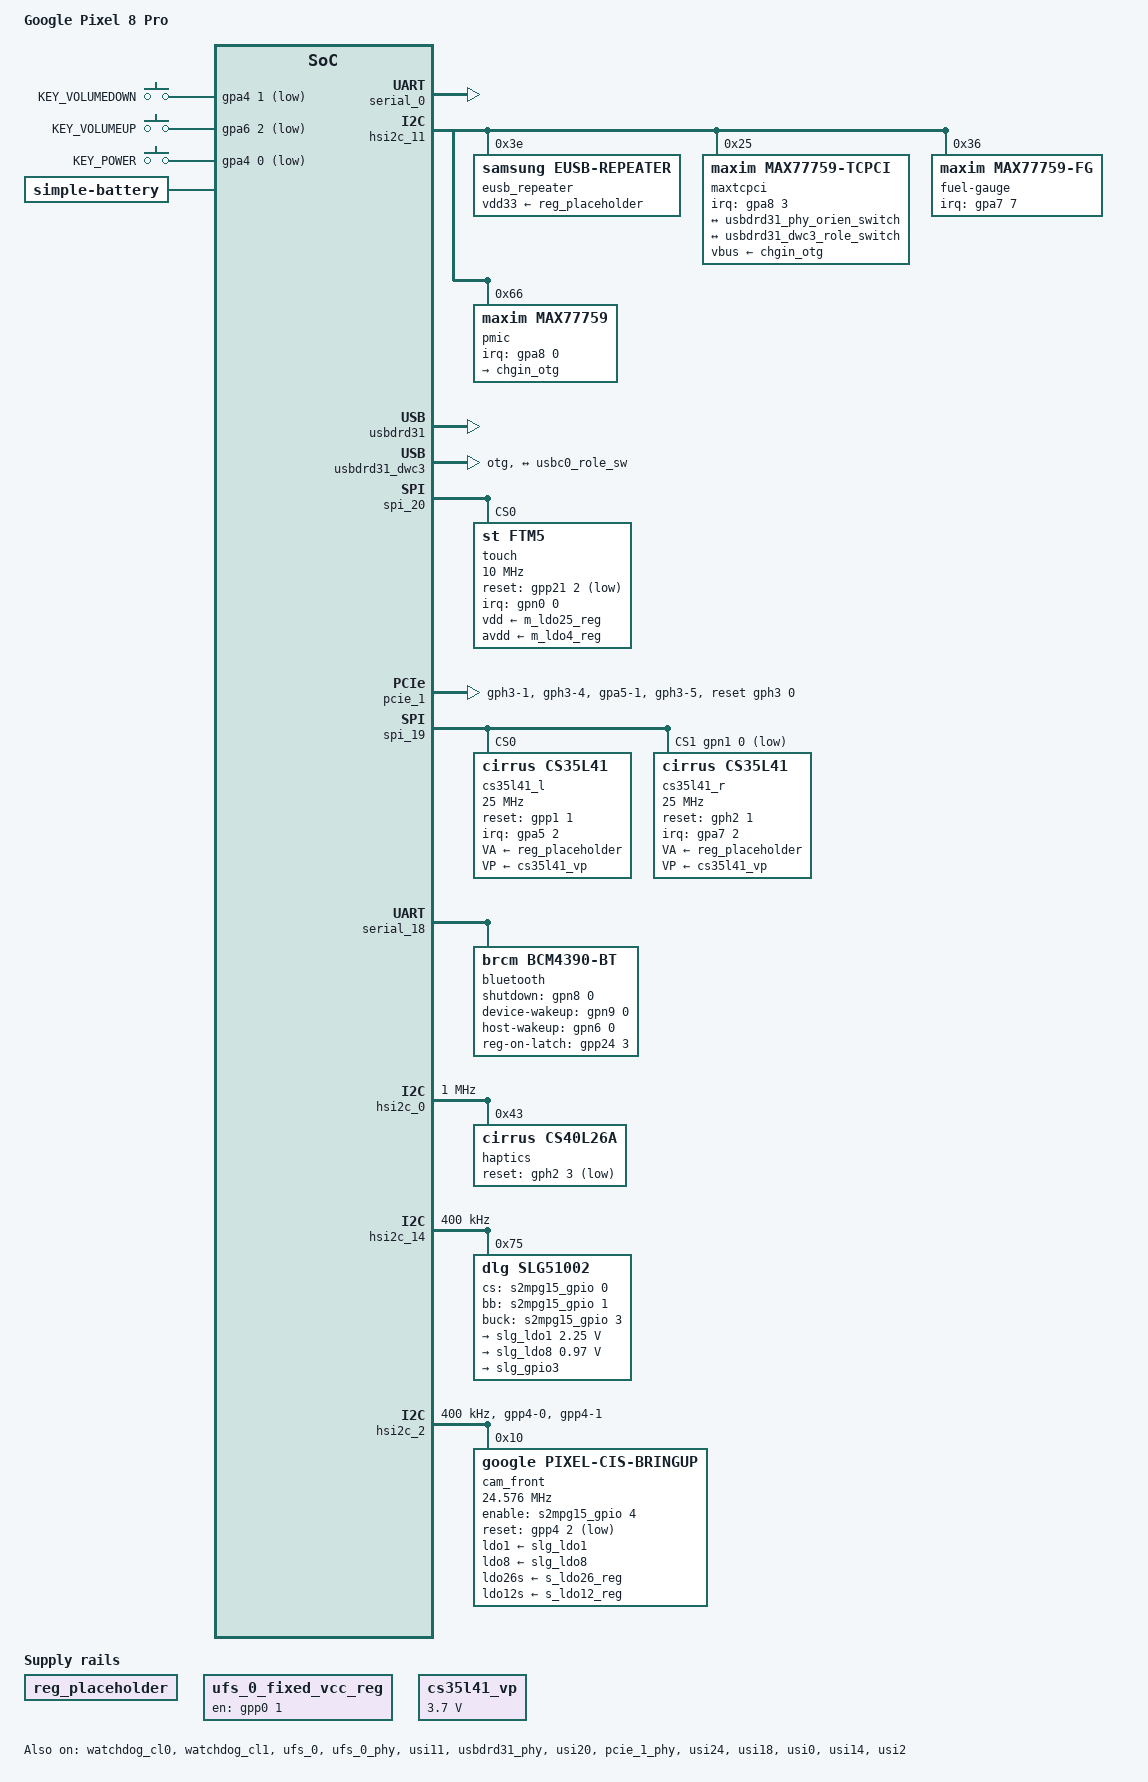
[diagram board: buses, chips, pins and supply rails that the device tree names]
// SPDX-License-Identifier: GPL-2.0-only
/*
 * Google Pixel 8 Pro (husky), Tensor G3 (zuma). First bring-up DT.
 *
 * Deliberately minimal: storage (UFS), USB gadget, keys and the watchdogs,
 * with the bootloader's framebuffer taken over by zumapro-bootfb (it reads
 * DECON back, so it needs no address here; pass "zumapro_bootfb" on the
 * command line). No PMIC, charger, panel or touch driver is bound yet, so
 * no regulator can be switched off behind the bootloader's back: every rail
 * a consumer needs is a fixed placeholder that is assumed to be on.
 *
 * Board facts from downstream kernel/devices/google/shusky
 * (android-gs-shusky-6.1-android16): zuma-husky-mp.dts board_id 0x40206,
 * zuma-shusky-usb.dtsi (eUSB2 repeater at 0x3e on hsi2c_11 and its tune
 * values), zuma-ufs.dtsi (UFS VCC enable on gpp0-1).
 */

/dts-v1/;

#include <dt-bindings/gpio/gpio.h>
#include <dt-bindings/input/input.h>
#include <dt-bindings/usb/pd.h>
#include "zumapro-pinctrl.h"
#include "zuma.dtsi"

/ {
	model = "Google Pixel 8 Pro";
	compatible = "google,husky", "google,zuma";

	/*
	 * Read by the bootloader (not the kernel) to pick a DTB out of
	 * vendor_kernel_boot: zuma is product 0x9865, B0/B1 steppings, and
	 * IPOP (pkg_mode 1) or FOPLP (0) packages. Copied from downstream
	 * zuma-b0-ipop.dts / zuma-b0-foplp.dts so any retail unit matches.
	 */
	soc_compatible {
		B0_IPOP {
			description = "B0,IPOP";
			product_id = <0x09865>;
			major = <0x1>;
			minor = <0x0>;
			pkg_mode = <0x1>;
		};

		B1_IPOP {
			description = "B1,IPOP";
			product_id = <0x09865>;
			major = <0x1>;
			minor = <0x1>;
			pkg_mode = <0x1>;
		};

		B0_FOPLP {
			description = "B0,FOPLP";
			product_id = <0x09865>;
			major = <0x1>;
			minor = <0x0>;
			pkg_mode = <0x0>;
		};

		B1_FOPLP {
			description = "B1,FOPLP";
			product_id = <0x09865>;
			major = <0x1>;
			minor = <0x1>;
			pkg_mode = <0x0>;
		};
	};

	aliases {
		serial0 = &serial_0;
	};

	chosen {
		/*
		 * The bootloader crashes when /chosen/bootargs is absent, and it
		 * appends the boot image's command line to whatever is here, so
		 * keep it present and empty.
		 */
		bootargs = "";
		stdout-path = &serial_0;
	};

	/*
	 * No memory nodes here beyond zumapro.dtsi's memory@80000000: the
	 * bootloader adds memory@880000000 .. memory@a80000000 itself (as on
	 * stock, whose base DTB only has memory@80000000), and fails the boot
	 * when a node by that name already exists.
	 */

	/*
	 * Every hole the stock Android kernel leaves in low RAM on this phone
	 * (Evolution X 17 / CP2A.260805.005, /proc/iomem and /sys/firmware/fdt
	 * read back on a running husky) that zumapro.dtsi does not already
	 * reserve and that the bootloader does not add by itself. It adds
	 * sec_dram (0xb6200000), sec_pt (0xe0000000) and pkvm_guest_firmware
	 * (0x8b000000) to /reserved-memory on every boot, and refuses the DTB
	 * (reboots into fastboot) when they are already described here.
	 */
	reserved-memory {

		gxp_scratchpad@91300000 {
			reg = <0x0 0x91300000 0x000a0000>;
			no-map;
		};

		gxp@91400000 {
			reg = <0x0 0x91400000 0x01000000>;
			no-map;
		};

		carveout@97000000 {
			reg = <0x0 0x97000000 0x00400000>;
			no-map;
		};


		carveout@d8100000 {
			reg = <0x0 0xd8100000 0x02910000>;
			no-map;
		};

		carveout@dda10000 {
			reg = <0x0 0xdda10000 0x00610000>;
			no-map;
		};

	};

	gpio-keys {
		compatible = "gpio-keys";
		pinctrl-0 = <&key_voldown>, <&key_volup>, <&key_power>;
		pinctrl-names = "default";

		button-vol-down {
			label = "KEY_VOLUMEDOWN";
			linux,code = <KEY_VOLUMEDOWN>;
			gpios = <&gpa4 1 GPIO_ACTIVE_LOW>;
		};

		button-vol-up {
			label = "KEY_VOLUMEUP";
			linux,code = <KEY_VOLUMEUP>;
			gpios = <&gpa6 2 GPIO_ACTIVE_LOW>;
		};

		button-power {
			label = "KEY_POWER";
			linux,code = <KEY_POWER>;
			gpios = <&gpa4 0 GPIO_ACTIVE_LOW>;
		};
	};

	reg_placeholder: regulator-0 {
		compatible = "regulator-fixed";
		regulator-name = "placeholder_reg";
		regulator-always-on;
	};

	ufs_0_fixed_vcc_reg: regulator-1 {
		compatible = "regulator-fixed";
		regulator-name = "ufs-vcc";
		gpio = <&gpp0 1 GPIO_ACTIVE_HIGH>;
		regulator-boot-on;
		/* nothing claims it, so only always-on stops the unused sweep */
		regulator-always-on;
		enable-active-high;
	};
};

/* The DSU covers all nine cores. */
&{/pmu-3} {
	cpus = <&cpu0>, <&cpu1>, <&cpu2>, <&cpu3>,
	       <&cpu4>, <&cpu5>, <&cpu6>, <&cpu7>, <&cpu8>;
};

&pinctrl_gpio_alive {
	key_power: key-power-pins {
		samsung,pins = "gpa4-0";
		samsung,pin-function = <GS101_PIN_FUNC_EINT>;
		samsung,pin-pud = <GS101_PIN_PULL_UP>;
	};

	key_voldown: key-voldown-pins {
		samsung,pins = "gpa4-1";
		samsung,pin-function = <GS101_PIN_FUNC_EINT>;
		samsung,pin-pud = <GS101_PIN_PULL_NONE>;
	};

	key_volup: key-volup-pins {
		samsung,pins = "gpa6-2";
		samsung,pin-function = <GS101_PIN_FUNC_EINT>;
		samsung,pin-pud = <GS101_PIN_PULL_NONE>;
	};
};

&ext_24_5m {
	clock-frequency = <24576000>;
};

&ext_200m {
	clock-frequency = <200000000>;
};

&ext_26m {
	clock-frequency = <26000000>;
};

&ext_1m {
	clock-frequency = <1000000>;
};

&serial_0 {
	status = "okay";
};

&watchdog_cl0 {
	timeout-sec = <30>;
	status = "okay";
};

&watchdog_cl1 {
	timeout-sec = <30>;
	status = "okay";
};

&ufs_0 {
	vcc-supply = <&ufs_0_fixed_vcc_reg>;
	vdd-hba-supply = <&reg_placeholder>;
	vccq-supply = <&reg_placeholder>;
	vccq2-supply = <&reg_placeholder>;
	vcc-max-microamp = <0>;
	vccq-max-microamp = <0>;
	vccq2-max-microamp = <0>;

	status = "okay";
};

&ufs_0_phy {
	status = "okay";
};

/* eUSB2 repeater: husky has it on hsi2c_11 (komodo: hsi2c_9). */
&usi11 {
	samsung,mode = <USI_MODE_I2C>;
	status = "okay";
};

&hsi2c_11 {
	status = "okay";

	eusb_repeater: eusb-repeater@3e {
		compatible = "samsung,eusb-repeater";
		reg = <0x3e>;
		#phy-cells = <0>;
		vdd33-supply = <&reg_placeholder>;
		/* zuma-shusky-usb.dtsi repeater_tune1..8 (register, value) */
		samsung,tune-param = <0x50 0x0a>,
				     <0x70 0x3c>,
				     <0x71 0x2c>,
				     <0x72 0x90>,
				     <0x73 0x83>,
				     <0x77 0x00>,
				     <0x78 0x0b>,
				     <0x79 0x40>;
	};
};

/*
 * Peripheral only for now: the role switch normally comes from the
 * MAX77759 TCPC, which is not described yet.
 */
&usbdrd31 {
	vdd10-supply = <&reg_placeholder>;
	vdd33-supply = <&reg_placeholder>;

	status = "okay";
};

&usbdrd31_dwc3 {
	dr_mode = "otg";
	usb-role-switch;
	role-switch-default-mode = "peripheral";
	maximum-speed = "high-speed";

	status = "okay";

	port {
		usbdrd31_dwc3_role_switch: endpoint {
			remote-endpoint = <&usbc0_role_sw>;
		};
	};
};

&usbdrd31_phy {
	pll-supply = <&reg_placeholder>;
	dvdd-usb20-supply = <&reg_placeholder>;
	vddh-usb20-supply = <&reg_placeholder>;
	vdd33-usb20-supply = <&reg_placeholder>;
	vdda-usbdp-supply = <&reg_placeholder>;
	vddh-usbdp-supply = <&reg_placeholder>;
	orientation-switch;

	status = "okay";

	port {
		usbdrd31_phy_orien_switch: endpoint {
			remote-endpoint = <&usbc0_orien_sw>;
		};
	};
};

/*
 * The bootloader merges its DPM (debug policy) overlay onto &dpm and reboots
 * into fastboot when the base DTB has no such label: copied from the stock
 * husky DTB (vendor_kernel_boot, B FOPLP). This DTB is built with -@ so the
 * label is exported in /__symbols__.
 */
/ {
	dpm: dpm {
		version = <0x65>;
		variant = "user";

		security {
			cp_mem_not_clear = <0x00>;
			dbg_mem_enable = <0x00>;
			seh_enable = <0x00>;
			pm_test_enable = <0x00>;
			seclog_enable = <0x00>;
			harxlog_enable = <0x00>;
			sdm_enable = <0x00>;
			ERXPFG_enable = <0x00>;
		};

		abl {
			ramdump_mode = <0x00>;
			ramdump2usb = <0x00>;
		};

		feature {

			dump-mode {
				enabled = <0x01>;
				file-support = <0x00>;
			};

			event {
				method = "task_log", "work_log", "cpuidle_log", "suspend_log", "irq_log", "hrtimer_log", "clk_log", "pmu_log", "freq_log", "dm_log", "regulator_log", "thermal_log", "acpm_log", "printk_log";
			};

			debug-kinfo {
				enabled = <0x01>;
			};
		};

		policy {

			exception {
				pre_log = <0x01>;
				el1_da = <0x00>;
				el1_ia = <0x00>;
				el1_undef = <0x00>;
				el1_sp_pc = <0x00>;
				el1_inv = <0x00>;
				el1_serror = <0x00>;
			};
		};
	};
};

/*
 * The boot framebuffer is scanned out by the bootloader's DECON through the
 * DPUF read DMA. Nothing in this DT binds the display yet, so the DPU SysMMU
 * and S2MPU runtime-suspend about a second into boot and genpd powers their
 * domains off -- DECON stops fetching and the panel freezes on whatever it
 * showed last (and touching 0x19840000 afterwards hangs the bus). Keep the
 * display domains up until a real display driver owns them.
 */
&pd_dpub {
	samsung,always-on;
};

&pd_dpuf0 {
	samsung,always-on;
};

&pd_dpuf1 {
	samsung,always-on;
};

/*
 * Main PMIC (S2MPG14), only the two touch rails for now. Every other rail is
 * left as the bootloader set it: describing a regulator lets Linux set its
 * voltage, so nothing is listed without husky's own constraints. Values from
 * downstream zuma-husky-touch.dtsi; the IRQ is IRQB_M (SPI 75), as on the
 * Pixel 9 boards (identical interrupt map).
 */
&acpm_ipc {
	pmic-1 {
		compatible = "samsung,s2mpg14-pmic";
		interrupt-parent = <&gic>;
		interrupts = <GIC_SPI 75 IRQ_TYPE_LEVEL_HIGH 0>;

		regulators {
			m_ldo4_reg: ldo4m {
				/* L4M_TS_AVDD: touch analog */
				regulator-name = "vdd_ts_avdd";
				regulator-min-microvolt = <3300000>;
				regulator-max-microvolt = <3300000>;
			};

			m_ldo25_reg: ldo25m {
				/* L25M_TSP_DVDD: touch digital */
				regulator-name = "vdd_ts_dvdd";
				regulator-min-microvolt = <1800000>;
				regulator-max-microvolt = <1800000>;
			};
		};
	};

	/*
	 * Sub PMIC (S2MPG15), only the AoC sensor rails. Enable-only, like on
	 * the Pixel 9: the bootloader leaves the voltages where the AoC wants
	 * them (stock husky overlay: L7S_SENSORS 1.8 V, L5S_PROX 3.3 V).
	 * Same IRQ as on the Pixel 9 (gpa0-1).
	 */
	pmic-2 {
		compatible = "samsung,s2mpg15-pmic";
		interrupt-parent = <&gpa0>;
		interrupts = <1 0 0>, <1 0 1>;

		regulators {
			s_ldo5_reg: ldo5s {
				regulator-name = "L5S_PROX";
			};

			s_ldo7_reg: ldo7s {
				regulator-name = "L7S_SENSORS";
			};

			s_ldo12_reg: ldo12s {
				regulator-name = "L12S_CAMIO";	/* 1.85 V */
			};

			s_ldo26_reg: ldo26s {
				regulator-name = "L26S_LDAF";	/* 3.3 V */
			};
		};

		s2mpg15_gpio: gpio {
			compatible = "samsung,s2mpg15-gpio";
			gpio-controller;
			#gpio-cells = <2>;
		};
	};
};

/*
 * Touch: ST FTM5 on USI20 SPI (downstream zuma-fts-touch.dtsi,
 * zuma-husky-touch.dtsi): IRQ gpn0-0, reset gpp21-2 (low = reset),
 * 10 MHz, sensor inverted in X and Y.
 */
&pinctrl_gpio_custom_alive {
	ts_irq: ts-irq {
		samsung,pins = "gpn0-0";
		samsung,pin-function = <GS101_PIN_FUNC_EINT>;
		samsung,pin-pud = <GS101_PIN_PULL_NONE>;
		samsung,pin-drv = <GS101_PIN_DRV_2_5_MA>;
	};
};

&usi20 {
	samsung,mode = <USI_MODE_SPI>;
	status = "okay";
};

&spi_20 {
	status = "okay";
	/*
	 * No pinctrl: on husky the USI20 SPI pins are dedicated (the vendor DT
	 * has an empty pinctrl-0). spi2_bus/spi2_cs_func would mux gpp4-0..3,
	 * which are the front camera's I2C, its reset and a GPS line here.
	 */
	/delete-property/ pinctrl-names;
	/delete-property/ pinctrl-0;
	num-cs = <1>;

	touch: touchscreen@0 {
		compatible = "st,ftm5";
		reg = <0>;
		spi-max-frequency = <10000000>;
		pinctrl-names = "default";
		pinctrl-0 = <&ts_irq>;
		interrupts-extended = <&gpn0 0 IRQ_TYPE_LEVEL_LOW>;
		reset-gpios = <&gpp21 2 GPIO_ACTIVE_LOW>;
		vdd-supply = <&m_ldo25_reg>;
		avdd-supply = <&m_ldo4_reg>;
		touchscreen-size-x = <1344>;
		touchscreen-size-y = <2992>;
		/*
		 * No inversion: the controller's axes match the panel scan. (It
		 * once looked inverted because the bootloader's 180 degree IDMA
		 * read was left on; exynos_dpu_dma now clears it.)
		 */

		controller-data {
			samsung,spi-feedback-delay = <0>;
			samsung,spi-chip-select-mode = <0>;
			cs-clock-delay = <2>;
		};
	};
};

/*
 * MAX77759 on hsi2c_11 (downstream live DT of a husky): core/charger @0x66
 * (IRQ gpa8-0), fuel gauge @0x36 (IRQ gpa7-7), TCPC @0x25 (IRQ gpa8-3).
 * Wiring after gs101-pixel-common.dtsi (Pixel 6 has the same MAX77759).
 *
 * Deliberately conservative first step:
 *  - USB-C dual-role with PD; OTG source limited to 5 V / 900 mA.
 *  - dwc3 role and PHY orientation follow the TCPC (high-speed only for now).
 *  - Charging limits below Google's (4.48 V top tier, temperature-tiered
 *    current): 4.40 V float, 2.0 A, since this charger driver does no
 *    temperature tiering.
 */
/ {
	battery: battery {
		compatible = "simple-battery";
		/* google,chg-battery-capacity 4950 mAh */
		charge-full-design-microamp-hours = <4950000>;
		voltage-max-design-microvolt = <4480000>;
		constant-charge-voltage-max-microvolt = <4400000>;
		constant-charge-current-max-microamp = <2000000>;
	};
};

&pinctrl_gpio_alive {
	if_pmic_int: if-pmic-int-pins {
		samsung,pins = "gpa8-0";
		samsung,pin-function = <GS101_PIN_FUNC_EINT>;
		samsung,pin-pud = <GS101_PIN_PULL_NONE>;
	};

	typec_int: typec-int-pins {
		samsung,pins = "gpa8-3";
		samsung,pin-function = <GS101_PIN_FUNC_EINT>;
		samsung,pin-pud = <GS101_PIN_PULL_NONE>;
	};

	if_pmic_fg_int: if-pmic-fg-int-pins {
		samsung,pins = "gpa7-7";
		samsung,pin-function = <GS101_PIN_FUNC_EINT>;
		samsung,pin-pud = <GS101_PIN_PULL_NONE>;
	};
};

&hsi2c_11 {
	maxtcpci: usb-typec@25 {
		compatible = "maxim,max77759-tcpci", "maxim,max33359";
		reg = <0x25>;
		interrupts-extended = <&gpa8 3 IRQ_TYPE_LEVEL_LOW>;
		pinctrl-0 = <&typec_int>;
		pinctrl-names = "default";
		vbus-supply = <&chgin_otg>;

		connector {
			compatible = "usb-c-connector";
			label = "USB-C";
			data-role = "dual";
			power-role = "dual";
			try-power-role = "sink";
			self-powered;
			op-sink-microwatt = <2600000>;
			/* OTG: the MAX77759 reverse boost, kept modest */
			source-pdos = <PDO_FIXED(5000, 900,
						 (PDO_FIXED_SUSPEND
						  | PDO_FIXED_USB_COMM
						  | PDO_FIXED_DATA_SWAP
						  | PDO_FIXED_DUAL_ROLE))>;
			/* as gs101-pixel-common.dtsi (same charger) */
			sink-pdos = <PDO_FIXED(5000, 3000,
					       (PDO_FIXED_DATA_SWAP
						| PDO_FIXED_USB_COMM
						| PDO_FIXED_HIGHER_CAP
						| PDO_FIXED_DUAL_ROLE))
				     PDO_FIXED(9000, 2200, 0)>;
			typec-power-opmode = "default";

			ports {
				#address-cells = <1>;
				#size-cells = <0>;

				port@0 {
					reg = <0>;
					usbc0_orien_sw: endpoint {
						remote-endpoint = <&usbdrd31_phy_orien_switch>;
					};
				};

				port@1 {
					reg = <1>;
					usbc0_role_sw: endpoint {
						remote-endpoint = <&usbdrd31_dwc3_role_switch>;
					};
				};
			};
		};
	};

	fuel-gauge@36 {
		compatible = "maxim,max77759-fg";
		reg = <0x36>;
		pinctrl-0 = <&if_pmic_fg_int>;
		pinctrl-names = "default";
		interrupts-extended = <&gpa7 7 IRQ_TYPE_LEVEL_LOW>;
		/* maxim,rsense-default 500 (10 uOhm units) */
		shunt-resistor-micro-ohms = <5000>;
		monitored-battery = <&battery>;
	};

	pmic@66 {
		compatible = "maxim,max77759";
		reg = <0x66>;
		pinctrl-0 = <&if_pmic_int>;
		pinctrl-names = "default";
		interrupts-extended = <&gpa8 0 IRQ_TYPE_LEVEL_LOW>;
		interrupt-controller;
		#interrupt-cells = <2>;
		power-supplies = <&maxtcpci>;
		monitored-battery = <&battery>;

		chgin_otg: chgin-otg-regulator {
			regulator-name = "chgin-otg";
		};

		gpio {
			compatible = "maxim,max77759-gpio";
			gpio-controller;
			#gpio-cells = <2>;
			interrupt-controller;
			#interrupt-cells = <2>;
		};
	};
};

/*
 * Wi-Fi: BCM4398 (rev 3 "d0", PCIe 14e4:4444) on PCIe channel 1. Pins from
 * the husky live DT: PERST gph3-0, CLKREQ gph3-1, WL_REG_ON gph3-4,
 * WL_DEV_WAKE gph3-5, WL_HOST_WAKE gpa5-1 (the Pixel 9a's is gpa5-3).
 * Gen3, as stock runs it.
 */
&pinctrl_hsi2 {
	wlan_pcie1_clkreq: wlan-pcie1-clkreq-pins {
		samsung,pins = "gph3-1";
		samsung,pin-function = <2>;
		samsung,pin-pud = <3>;
		samsung,pin-drv = <3>;
		samsung,pin-con-pdn = <3>;
		samsung,pin-pud-pdn = <3>;
	};

	wlan_reg_on: wlan-reg-on-pins {
		samsung,pins = "gph3-4";
		samsung,pin-function = <1>;
		samsung,pin-pud = <0>;
		samsung,pin-drv = <0>;
		samsung,pin-con-pdn = <3>;
		samsung,pin-pud-pdn = <0>;
	};

	wlan_dev_wake: wlan-dev-wake-pins {
		samsung,pins = "gph3-5";
		samsung,pin-function = <0>;
		samsung,pin-pud = <1>;
		samsung,pin-drv = <0>;
		samsung,pin-con-pdn = <3>;
		samsung,pin-pud-pdn = <1>;
	};
};

&pinctrl_far_alive {
	wlan_host_wake: wlan-host-wake-pins {
		samsung,pins = "gpa5-1";
		samsung,pin-function = <0x0f>;
		samsung,pin-pud = <1>;
		samsung,pin-drv = <0>;
		samsung,pin-con-pdn = <3>;
		samsung,pin-pud-pdn = <1>;
	};
};

&pcie_1_phy {
	status = "okay";
};

&pcie_1 {
	pinctrl-names = "default";
	pinctrl-0 = <&wlan_pcie1_clkreq &wlan_reg_on &wlan_host_wake &wlan_dev_wake>;
	reset-gpios = <&gph3 0 GPIO_ACTIVE_HIGH>;		/* PERST */
	wlan-reg-on-gpios = <&gph3 4 GPIO_ACTIVE_HIGH>;		/* WLAN_EN */
	host-wake-gpios = <&gpa5 1 GPIO_ACTIVE_HIGH>;		/* WL_HOST_WAKE */
	device-wake-gpios = <&gph3 5 GPIO_ACTIVE_HIGH>;		/* WL_DEV_WAKE */
	max-link-speed = <3>;
	status = "okay";
};

/*
 * Audio: everything goes through the AOC (it runs its own firmware, loaded
 * and authenticated by the GSA), with two CS35L41 speaker amps on spi_19
 * (HSI0 USI1, as komodo). From downstream zuma-shusky-audio.dtsi:
 * left  @0: IRQ gpa5-2, reset gpp1-1, native CS;
 * right @1: IRQ gpa7-2, reset gph2-1, CS gpn1-0 (GPIO), "R" prefix.
 * Boost settings as downstream. VA (s_bucka, 1.8 V) and VP (VSYS) are left
 * as the bootloader set them.
 */
&aoc {
	/* stock husky AOC node: aoc-board-cfg "HK3" */
	aoc-board-id = <0x40202>;
	aoc-board-rev = <0x10000>;

	/*
	 * The AoC does not power its physical sensors itself; without these it
	 * enumerates only fused/software sensors (stock: sensor_power_list).
	 */
	sensor_1v8-supply = <&s_ldo7_reg>;
	sensor_3v3-supply = <&s_ldo5_reg>;
};

/ {
	aoc_sound: aoc-sound {
		compatible = "google,aoc-sound";
		aoc = <&aoc>;

		speakers {
			sound-dai = <&cs35l41_l 0>, <&cs35l41_r 0>;
		};
	};

	cs35l41_vp: regulator-cs35l41-vp {
		compatible = "regulator-fixed";
		regulator-name = "cs35l41-vp";
		regulator-min-microvolt = <3700000>;
		regulator-max-microvolt = <3700000>;
		regulator-always-on;
	};
};

&pinctrl_peric0 {
	cam_front_mclk_on: cam-front-mclk-on-pins {
		samsung,pins = "gpp5-0";
		samsung,pin-function = <GS101_PIN_FUNC_2>;
		samsung,pin-pud = <GS101_PIN_PULL_NONE>;
		samsung,pin-drv = <2>;
	};

	cam_front_mclk_off: cam-front-mclk-off-pins {
		samsung,pins = "gpp5-0";
		samsung,pin-function = <GS101_PIN_FUNC_OUTPUT>;
		samsung,pin-pud = <GS101_PIN_PULL_DOWN>;
		samsung,pin-drv = <2>;
	};

	cam_front_i2c: cam-front-i2c-pins {
		samsung,pins = "gpp4-0", "gpp4-1";
		samsung,pin-function = <GS101_PIN_FUNC_3>;
		samsung,pin-pud = <GS101_PIN_PULL_UP>;
		samsung,pin-drv = <GS101_PIN_DRV_2_5_MA>;
	};

	cs35l41_l_rst: cs35l41-l-rst-pins {
		samsung,pins = "gpp1-1";
		samsung,pin-function = <GS101_PIN_FUNC_OUTPUT>;
		samsung,pin-pud = <GS101_PIN_PULL_NONE>;
	};
};

&usi24 {
	samsung,mode = <USI_MODE_SPI>;
	status = "okay";
};

&spi_19 {
	status = "okay";
	num-cs = <2>;
	cs-gpios = <0>, <&gpn1 0 GPIO_ACTIVE_LOW>;

	cs35l41_l: cs35l41@0 {
		compatible = "cirrus,cs35l41";
		reg = <0>;
		#sound-dai-cells = <1>;
		spi-max-frequency = <25000000>;
		pinctrl-names = "default";
		pinctrl-0 = <&cs35l41_l_rst>;
		interrupt-parent = <&gpa5>;
		interrupts = <2 IRQ_TYPE_LEVEL_LOW>;
		reset-gpios = <&gpp1 1 GPIO_ACTIVE_HIGH>;
		VA-supply = <&reg_placeholder>;
		VP-supply = <&cs35l41_vp>;
		cirrus,boost-peak-milliamp = <3500>;
		cirrus,boost-ind-nanohenry = <1000>;
		cirrus,boost-cap-microfarad = <4>;
		cirrus,asp-sdout-hiz = <3>;
		cirrus,gpio2-src-select = <4>;
		cirrus,gpio2-output-enable;
		cirrus,subsystem-id = "husky";

		controller-data {
			samsung,spi-feedback-delay = <1>;
			samsung,spi-chip-select-mode = <0>;
		};
	};

	cs35l41_r: cs35l41@1 {
		compatible = "cirrus,cs35l41";
		reg = <1>;
		#sound-dai-cells = <1>;
		sound-name-prefix = "R";
		spi-max-frequency = <25000000>;
		interrupt-parent = <&gpa7>;
		interrupts = <2 IRQ_TYPE_LEVEL_LOW>;
		reset-gpios = <&gph2 1 GPIO_ACTIVE_HIGH>;
		VA-supply = <&reg_placeholder>;
		VP-supply = <&cs35l41_vp>;
		cirrus,boost-peak-milliamp = <3500>;
		cirrus,boost-ind-nanohenry = <1000>;
		cirrus,boost-cap-microfarad = <4>;
		cirrus,asp-sdout-hiz = <3>;
		cirrus,gpio2-src-select = <4>;
		cirrus,gpio2-output-enable;
		cirrus,right-channel-amp;
		cirrus,subsystem-id = "husky";

		controller-data {
			samsung,spi-feedback-delay = <1>;
			samsung,spi-chip-select-mode = <2>;
		};
	};
};

/*
 * Bluetooth: the BCM4398's BT core on the APM USI1 internal UART
 * (serial_18), H4 with RTS/CTS. The UART has no pads of its own to mux:
 * uart18-bus (gpa3) is not the BT link on husky (gpa3-0/1 are a bit-bang
 * bus, gpa3-2 is ODPM vbatt), so serial_18 takes no pinctrl.
 * Power and wake lines from the stock "goog,nitrous" node: BT_REG_ON
 * gpn8-0, BT_DEV_WAKE gpn9-0, BT_HOST_WAKE gpn6-0. REG_ON reaches the
 * chip through a flip-flop clocked by bt-ble-dbo-le (gpp24-3), which has
 * to be pulsed after every REG_ON change (nitrous toggle_dbo_ff()).
 * btbcm loads brcm/BCM.hcd, the patchram the stock HAL uses.
 */
&pinctrl_gpio_custom_alive {
	bt_reg_on: bt-reg-on-pins {
		samsung,pins = "gpn8-0";
		samsung,pin-function = <GS101_PIN_FUNC_OUTPUT>;
		samsung,pin-pud = <GS101_PIN_PULL_NONE>;
	};

	bt_dev_wake: bt-dev-wake-pins {
		samsung,pins = "gpn9-0";
		samsung,pin-function = <GS101_PIN_FUNC_OUTPUT>;
		samsung,pin-pud = <GS101_PIN_PULL_NONE>;
	};

	bt_host_wake: bt-host-wake-pins {
		samsung,pins = "gpn6-0";
		samsung,pin-function = <GS101_PIN_FUNC_EINT>;
		samsung,pin-pud = <GS101_PIN_PULL_DOWN>;
	};
};

&pinctrl_peric1 {
	bt_reg_on_latch: bt-reg-on-latch-pins {
		samsung,pins = "gpp24-3";
		samsung,pin-function = <GS101_PIN_FUNC_OUTPUT>;
		samsung,pin-pud = <GS101_PIN_PULL_NONE>;
	};
};

&usi18 {
	samsung,clkreq-on; /* needed for UART mode */
	status = "okay";
};

&serial_18 {
	/delete-property/ pinctrl-0;
	/delete-property/ pinctrl-names;
	status = "okay";

	bluetooth {
		compatible = "brcm,bcm4390-bt";
		pinctrl-0 = <&bt_reg_on &bt_dev_wake &bt_host_wake &bt_reg_on_latch>;
		pinctrl-names = "default";
		shutdown-gpios = <&gpn8 0 GPIO_ACTIVE_HIGH>;
		device-wakeup-gpios = <&gpn9 0 GPIO_ACTIVE_HIGH>;
		host-wakeup-gpios = <&gpn6 0 GPIO_ACTIVE_HIGH>;
		reg-on-latch-gpios = <&gpp24 3 GPIO_ACTIVE_HIGH>;
		max-speed = <3000000>;
	};
};

/*
 * Sensors live behind the AoC's USF sensor hub. aoc-usf uploads the stock
 * registry scripts (google/usf/registry.manifest) stamped with the CDT from
 * /chosen/plat, and usf-iio exposes the sensors as IIO devices.
 */
/ {
	aoc_usf: aoc-usf {
		compatible = "google,aoc-usf";
		google,aoc = <&aoc>;
	};
};

/*
 * Haptics: Cirrus CS40L26A on hsi2c_0 @0x43 (stock zuma-husky overlay):
 * IRQ gpa6-3, reset gph2-3 (active low), trigger gph2-0. cs40l26-vibra drives
 * the ROM firmware; the IRQ and the RAM firmware are not used yet.
 */
&usi0 {
	samsung,mode = <USI_MODE_I2C>;
	status = "okay";
};

&hsi2c_0 {
	clock-frequency = <1000000>;
	status = "okay";

	haptics@43 {
		compatible = "cirrus,cs40l26a";
		reg = <0x43>;
		pinctrl-0 = <&hapt_amp_rst>;
		pinctrl-names = "default";
		reset-gpios = <&gph2 3 GPIO_ACTIVE_LOW>;
		/* boost limits from the stock husky DT */
		cirrus,bst-expl-mode-disable;
		cirrus,bst-ctl-microvolt = <11000000>;
		cirrus,bst-ipk-microamp = <2500000>;
	};
};

&pinctrl_hsi1 {
	hapt_amp_rst: hapt-amp-rst-pins {
		samsung,pins = "gph2-3";
		samsung,pin-function = <GS101_PIN_FUNC_OUTPUT>;
		samsung,pin-pud = <GS101_PIN_PULL_NONE>;
	};
};

/*
 * Camera power (vendor DT, sensor@1 "dokkaebi" = front, I2C bus 2 @0x10).
 * SLG51002 camera PMIC on USI14 @0x75; its enables are S2MPG15 GPIOs 0/1/3.
 */
&usi14 {
	samsung,mode = <USI_MODE_I2C>;
	status = "okay";
};

&hsi2c_14 {
	clock-frequency = <400000>;
	status = "okay";

	slg51002: pmic@75 {
		compatible = "dlg,slg51002";
		reg = <0x75>;
		dlg,cs-gpios = <&s2mpg15_gpio 0 GPIO_ACTIVE_HIGH>;
		dlg,bb-gpios = <&s2mpg15_gpio 1 GPIO_ACTIVE_HIGH>;
		dlg,buck-gpios = <&s2mpg15_gpio 3 GPIO_ACTIVE_HIGH>;

		regulators {
			slg_ldo1: ldo1 {
				regulator-name = "CAM_LDO1";
				regulator-min-microvolt = <2250000>;
				regulator-max-microvolt = <2250000>;
			};

			slg_ldo8: ldo8 {
				regulator-name = "CAM_LDO8";
				regulator-min-microvolt = <970000>;
				regulator-max-microvolt = <970000>;
			};

			slg_gpio3: gpio3 {
				regulator-name = "CAM_SW3";
			};
		};
	};
};

&usi2 {
	samsung,mode = <USI_MODE_I2C>;
	status = "okay";
};

&hsi2c_2 {
	clock-frequency = <400000>;
	pinctrl-0 = <&cam_front_i2c>;
	status = "okay";

	/* Front camera ("dokkaebi"); power order and delays from the vendor DT. */
	cam_front: camera@10 {
		compatible = "google,pixel-cis-bringup";
		reg = <0x10>;
		pixel,supply-names = "ldo1", "ldo8", "ldo26s", "ldo12s", "sw3";
		pixel,supply-delays-us = <500 750 0 0 500>;
		ldo1-supply = <&slg_ldo1>;
		ldo8-supply = <&slg_ldo8>;
		ldo26s-supply = <&s_ldo26_reg>;
		ldo12s-supply = <&s_ldo12_reg>;
		sw3-supply = <&slg_gpio3>;
		enable-gpios = <&s2mpg15_gpio 4 GPIO_ACTIVE_HIGH>;
		clocks = <&cmu_top CLK_DOUT_CMU_CIS_CLK1>;
		/* 24.576 MHz oscclk: no PLL here divides to exactly 24 MHz */
		clock-frequency = <24576000>;
		pinctrl-names = "mclk_on", "mclk_off";
		pinctrl-0 = <&cam_front_mclk_on>;
		pinctrl-1 = <&cam_front_mclk_off>;
		reset-gpios = <&gpp4 2 GPIO_ACTIVE_LOW>;
		pixel,reset-delay-us = <8000>;
	};
};

/ {
	/* Camera front end (CSIS + PDMA @0x1c000000) power, for bring-up. */
	ispfe-bringup {
		compatible = "google,zuma-ispfe-bringup";
		/* PMU ISPFE_CONFIGURATION/STATUS (also mapped by pd_ispfe), isp-fe */
		reg = <0x0 0x15462480 0x8>,
		      <0x0 0x1c300000 0x100000>;
		power-domains = <&pd_ispfe>;
		clocks = <&cmu_top CLK_DOUT_CMU_ISPFE_NOC>;
	};
};

